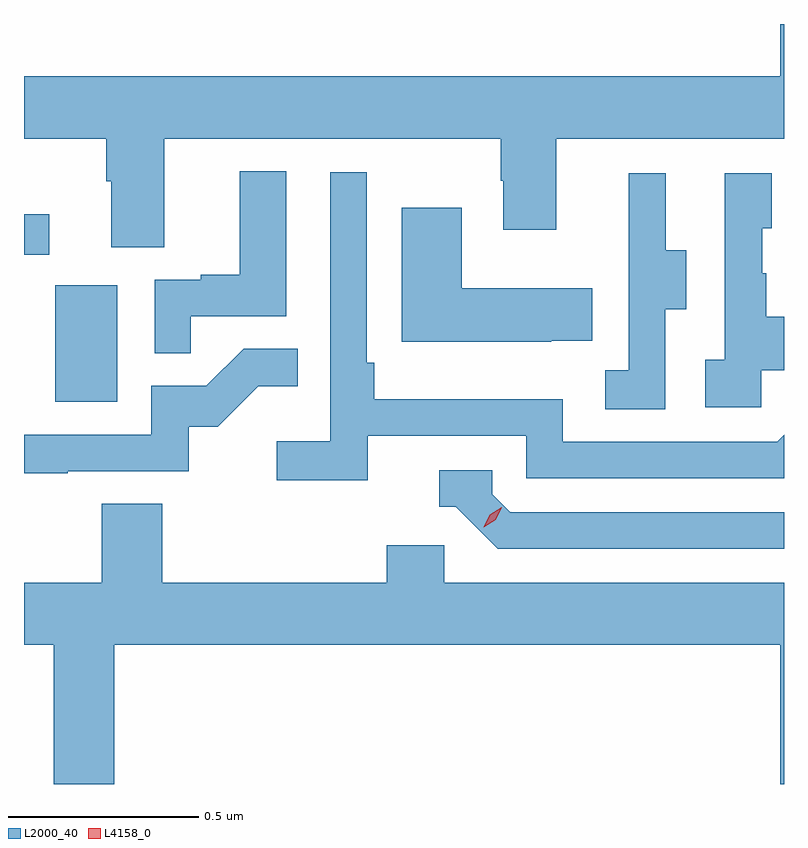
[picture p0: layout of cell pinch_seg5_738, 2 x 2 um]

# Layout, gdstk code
import gdstk
lib = gdstk.Library(unit=1e-6, precision=1e-09)
def R(c, l, rs):  # rectangles x0, y0, x1, y1
    for r in rs: c.add(gdstk.rectangle(r[:2], r[2:], *l))
def P(c, l, *ps):  # polygons
    for p in ps: c.add(gdstk.Polygon(p, *l))
L2000_40 = (2000, 40)
L4158_0 = (4158, 0)

pinch_seg5_738 = lib.new_cell('pinch_seg5_738')
R(pinch_seg5_738, L2000_40, [(822.44,896.028,822.604,896.335), (822.358,896.415,822.424,896.521)])
P(pinch_seg5_738, L2000_40, [(822.727,896.72),(823.612,896.72),(823.612,896.609),(823.619,896.609),(823.619,896.481),(823.759,896.481),(823.759,896.72),(824.358,896.72),(824.358,897.022),(824.348,897.022),(824.348,896.884),(822.358,896.884),(822.358,896.72),(822.575,896.72),(822.575,896.608),(822.587,896.608),(822.587,896.434),(822.727,896.434)],
  [(822.797,896.253),(823.048,896.253),(823.048,896.635),(822.926,896.635),(822.926,896.362),(822.823,896.362),(822.823,896.349),(822.702,896.349),(822.702,896.155),(822.797,896.155)],
  [(823.262,895.938),(823.68,895.938),(823.68,895.827),(824.358,895.827),(824.358,895.941),(824.34,895.923),(823.776,895.923),(823.776,896.035),(823.28,896.035),(823.28,896.131),(823.26,896.131),(823.26,896.632),(823.164,896.632),(823.164,895.924),(823.023,895.924),(823.023,895.822),(823.262,895.822)],
  [(824.298,896.111),(824.358,896.111),(824.358,896.251),(824.311,896.251),(824.311,896.366),(824.301,896.366),(824.301,896.484),(824.326,896.484),(824.326,896.629),(824.202,896.629),(824.202,896.138),(824.151,896.138),(824.151,896.013),(824.298,896.013)],
  [(824.046,896.272),(824.101,896.272),(824.101,896.427),(824.047,896.427),(824.047,896.629),(823.949,896.629),(823.949,896.415),(823.95,896.415),(823.95,896.111),(823.887,896.111),(823.887,896.008),(824.046,896.008)],
  [(823.745,896.189),(823.853,896.189),(823.853,896.326),(823.51,896.326),(823.51,896.539),(823.352,896.539),(823.352,896.186),(823.745,896.186)],
  [(822.473,895.845),(822.792,895.845),(822.792,895.962),(822.868,895.962),(822.975,896.069),(823.079,896.069),(823.079,896.168),(822.936,896.168),(822.838,896.07),(822.693,896.07),(822.693,895.941),(822.358,895.941),(822.358,895.84),(822.473,895.84)],
  [(824.358,895.737),(823.638,895.737),(823.59,895.785),(823.59,895.848),(823.451,895.848),(823.451,895.752),(823.494,895.752),(823.605,895.641),(824.358,895.641)],
  [(822.596,895.388),(824.348,895.388),(824.348,895.022),(824.358,895.022),(824.358,895.552),(823.464,895.552),(823.464,895.65),(823.313,895.65),(823.313,895.552),(822.722,895.552),(822.722,895.76),(822.562,895.76),(822.562,895.552),(822.358,895.552),(822.358,895.388),(822.436,895.388),(822.436,895.022),(822.596,895.022)])
P(pinch_seg5_738, L4158_0, [(823.568,895.698),(823.568,895.698),(823.584,895.731),(823.615,895.75),(823.615,895.75),(823.615,895.749),(823.599,895.717),(823.568,895.698)])

lib.write_gds('pinch_seg5_738.gds')
